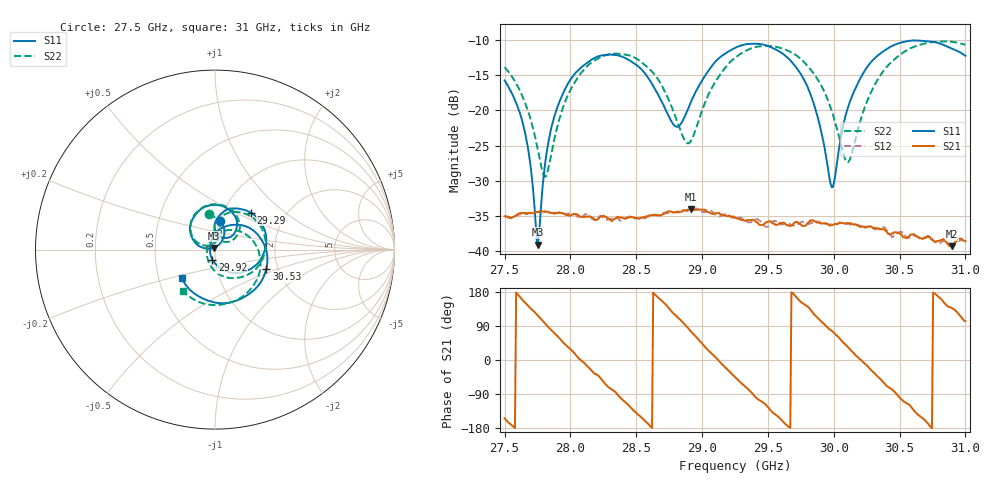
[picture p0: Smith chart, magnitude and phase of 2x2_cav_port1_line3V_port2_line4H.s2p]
!Created with skrf (http://scikit-rf.org).
# GHz S RI R 50.0
!freq ReS11 ImS11 ReS21 ImS21 ReS12 ImS12 ReS22 ImS22
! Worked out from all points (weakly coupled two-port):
!   401 points, 27.5 GHz to 31 GHz, reference 50 ohm
!   highest |S21| = -34.03 dB at 28.92 GHz (marker M1); lowest = -39.3 dB at 30.89 GHz (marker M2)
!   lowest |S11| = -39.1 dB at 27.75 GHz (marker M3), VSWR 1.02, Z = 49.5 + j0.974 ohm
!   |S11| at or under -10 dB: start of sweep to end of sweep
!   |S22| runs from -29.4 to -10.2 dB; largest |S21 - S12| = 0.0014
!   S11 on the Smith chart (normalised r, x): 27.5 GHz: 1.00, +0.33; 29.29 GHz: 1.34, +0.60; 29.92 GHz: 0.97, -0.11; 30.53 GHz: 1.74, -0.42; 31 GHz: 0.66, -0.23
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27.5  0.0278 0.1608  -0.0159 -0.00777  -0.0157 -0.00795  -0.031 0.2001
27.64875  0.0438 0.0592  -0.0168 0.00823  -0.0165 0.00811  0.0311 0.1131
27.75375  -0.00522 0.00984  -0.00853 0.017  -0.00847 0.017  0.0113 0.0506
27.80625  -0.0405 0.00496  -0.00221 0.0189  -0.00215 0.0191  -0.0149 0.0303
27.8675  -0.082 0.016  0.00502 0.0179  0.00495 0.0178  -0.0518 0.0222
28.08625  -0.1318 0.1549  0.0176 -0.000786  0.0174 -0.000175  -0.137 0.1272
28.3925  0.0646 0.2318  -0.00414 -0.0168  -0.00393 -0.016  0.0362 0.2483
28.6725  0.0982 0.0785  -0.0172 0.00551  -0.0173 0.00514  0.1319 0.0949
28.80375  0.034 0.0686  -0.00824 0.017  -0.00859 0.017  0.0756 0.0435
28.9175  -0.000965 0.1161  0.00534 0.0191  0.00484 0.0189  0.0171 0.0588
29.25  0.1713 0.2189  0.0122 -0.0123  0.0124 -0.012  0.1079 0.2105
29.285  0.1999 0.206  0.00918 -0.0142  0.00972 -0.0144  0.1375 0.2081
29.6175  0.2391 -0.0751  -0.0153 -0.0045  -0.0148 -0.00466  0.2706 -0.0382
29.83625  0.0452 -0.1117  -0.00993 0.0133  -0.00954 0.0127  0.1018 -0.1592
29.92375  -0.0145 -0.0566  -0.00163 0.0157  -0.00162 0.0155  0.0207 -0.137
29.99375  -0.0281 0.00521  0.00414 0.0148  0.00444 0.015  -0.0249 -0.0901
30.1075  0.0132 0.1036  0.013 0.00887  0.0129 0.00866  -0.0412 0.0116
30.265  0.1626 0.1326  0.0141 -0.00496  0.0141 -0.00492  0.0609 0.107
30.4225  0.2797 0.0131  0.00381 -0.0126  0.00327 -0.0129  0.2062 0.0553
30.5275  0.2859 -0.1085  -0.00396 -0.0119  -0.00437 -0.0128  0.2526 -0.0513
30.895  -0.0927 -0.2592  -0.00806 0.00726  -0.00805 0.00767  -0.0581 -0.302
31  -0.1835 -0.1607  -0.00254 0.0115  -0.00272 0.0112  -0.1794 -0.2308
